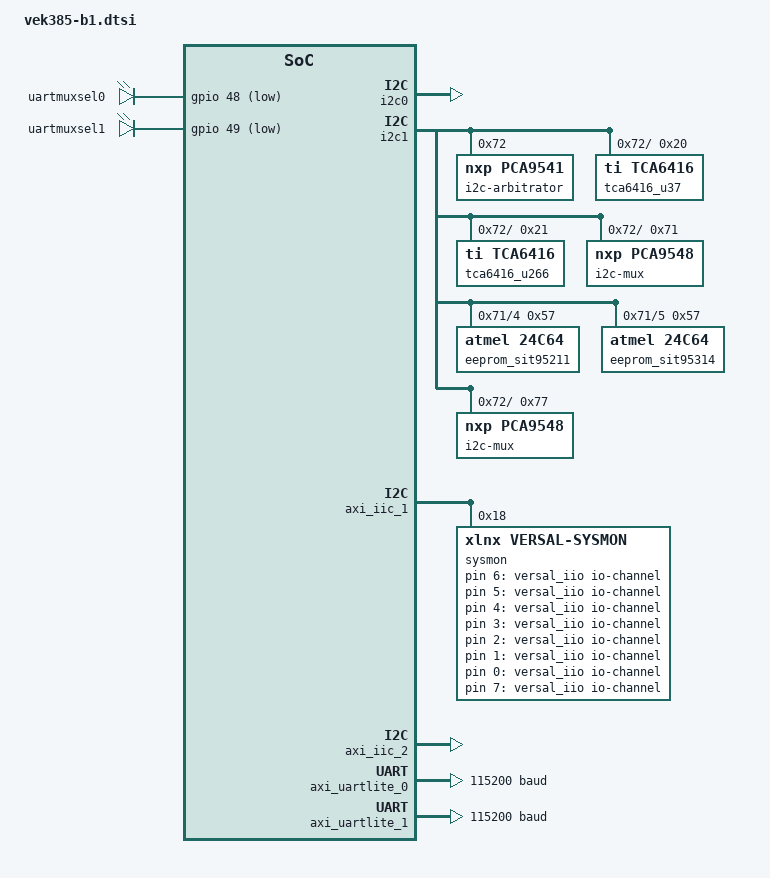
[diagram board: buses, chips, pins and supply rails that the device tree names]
// SPDX-License-Identifier: GPL-2.0
/*
 * dts file for Kria(K24) SC on VEK385 revB
 *
 * (C) Copyright 2024 - 2025, Advanced Micro Devices, Inc.
 *
 */

/dts-v1/;
/plugin/;

&{/} {
	compatible = "xlnx,zynqmp-sc-vek385-revB",
		     "xlnx,zynqmp-sc-vek385", "xlnx,zynqmp";
	model = "ZynqMP SC VEK385 revB";

	versal_iio: versal {
		compatible = "iio-hwmon";
		io-channels = <&sysmon 6>, <&sysmon 5>, <&sysmon 4>,
			      <&sysmon 3>, <&sysmon 2>, <&sysmon 1>,
			      <&sysmon 0>, <&sysmon 7>, <&sysmon 8>;
	};

	aliases {
		/* This is kind of HACK but works properly based on design */
		nvmem1 = "/axi/i2c@ff030000/i2c-arbitrator@72/i2c-arb/eeprom@54";
	};

	leds-um {
		compatible = "gpio-leds";
		um0-led {
			label = "uartmuxsel0";
			gpios = <&gpio 48 1>;
			default-state = "off";
		};

		um1-led {
			label = "uartmuxsel1";
			gpios = <&gpio 49 1>;
			default-state = "off";
		};
	};


};

&i2c0 { /* I2C_SCK C23/C24 - MIO 66/67 */
	status = "okay";
	/* board_i2c0 */
};

&i2c1 { /* I2C_SCK C23/C24 - MIO from SOM */
	#address-cells = <1>;
	#size-cells = <0>;

	i2c-arbitrator@72 { /* u161 */
		compatible = "nxp,pca9541";
		reg = <0x72>;

		i2c-arb {
			#address-cells = <1>;
			#size-cells = <0>;

			tca6416_u37: gpio@20 { /* u37 */
				compatible = "ti,tca6416";
				reg = <0x20>;
				gpio-controller; /* interrupt on MIO69 */
				#gpio-cells = <2>;
				gpio-line-names = "VMON1_SLP", "VMON2_SLP", "VMON3_SLP", "", /* 0 - 3 */
						"PCIE_RP_i2C_ALERT_B", "PCIE_RP_CLKREQ_B", "PCIE_RP_PEWAKE_B", "PCIE_RP_PERST_CON_B", /* 4 - 7 */
						"FMCP1_FMC_PRSNT_M2C_B", "FMCP1_FMCP_PRSNT_M2C_B", "PMBUS4_INA_ALERT", "PMBUS3_INA_ALERT", /* 10 - 13 */
						"PMBUS2_INA_ALERT", "PMBUS1_INA_ALERT", "PMBUS1_NIRQ", "PMBUS1_ALERT"; /* 14 - 17 */
			};

			tca6416_u266: gpio@21 { /* u266 */
				compatible = "ti,tca6416";
				reg = <0x21>;
				gpio-controller; /* interrupt on MIO69 */
				#gpio-cells = <2>;
				gpio-line-names = "QSFP1_MODSELL", "QSFP1_RESETL", "QSFP1_MODPRSL", "QSFP1_INTL", /* 0 - 3 */
						"QSFP1_LPMODE", "", "", "", /* 4 - 7 */
						"SFP_TX_FAULT", "SFP_RX_LOS", "SFP_MOD_ABS", "SFP_TX_DISABLE", /* 10 - 13 */
						"SFP_RS0_R", "SFP_RS1_R", "", ""; /* 14 - 17 */
			};

			i2c-mux@71 { /* u162 */
				compatible = "nxp,pca9548";
				#address-cells = <1>;
				#size-cells = <0>;
				reg = <0x71>;
				i2c-mux-idle-disconnect;
				i2c@0 {
					#address-cells = <1>;
					#size-cells = <0>;
					reg = <0>;
					/* pmbus1 */
					/* J1 connector */
					/* u256 mpq79730 0x8 */
					/* u254 mpq79730 0x9 */
					/* u255 mpq79730 0xa */
					/* u243 mpq79720 0xb */
					/* u245 mpq79720 0xc */
					/* u92 mpq2283 0x12 */
					/* u201 mpq2283 0x15 */
					/* u193 mpq2283 0x1a */
					/* u207 mpq2283 0x1c */
					/* u176 mpq2285 0x1d */
					/* u228 mpq72963 0x22 */
					/* u219 mpq72963 0x23 */
					/* u220 mpq72963 0x24 */
					/* u247 mpq79500 FIXME */
					/* u248 mpq79500 FIXME */
					/* u249 mpq79500 FIXME */
				};
				i2c@1 {
					#address-cells = <1>;
					#size-cells = <0>;
					reg = <1>;
					/* pmbus2 */
					/* J166 connector */
					/* u205 mpq2285 0x1 */
					/* u175 mpq2285 0x2 */
					/* u189 mpq2283 0x3 */
					/* u190 mpq2283 0x4 */
					/* u195 mpq2283 0x1e */
					/* u196 mpq2283 0x1f */
					/* u93 mpq2283 0x13 */
					/* u94 mpq2283 0x14 */
					/* u202 mpq2283 0x16 */
					/* u203 mpq2283 0x17 */
					/* u204 mpq2283 0x18 */
					/* u191 mpq2283 0x19 */
					/* u206 mpq2283 0x1b */
				};
				i2c@2 {
					#address-cells = <1>;
					#size-cells = <0>;
					reg = <2>;
					/* pmbus1_ina */
					/* u282 ina745a 0x40 vcc_fpd_bus */
					/* u233 ina745a 0x41 vcc_soc_io_bus */
					/* u283 ina700a 0x44 vcc_lpd */
					/* u284 ina700a 0x45 vccaux_lpd */
					/* u285 ina700a 0x46 vcco_50x */
					/* u286 ina700a 0x47 vcco_mipi_507 */
					/* u64 ina745a 0x48 vccint_bus1 */
					/* u275 ina745a 0x49 vccint_bus2 */
					/* u276 ina745a 0x4a vccint_bus3 */
					/* u277 ina745a 0x4b vccint_bus4 */
				};
				i2c@3 {
					#address-cells = <1>;
					#size-cells = <0>;
					reg = <3>;
					/* pmbus2_ina */
					/* u287 ina700a 0x44 vcciio_mipi_507 */
					/* u297 ina700a 0x45 util_5v0_in_bank504 */
					/* u288 ina700a 0x46 vccaux */
					/* u289 ina700a 0x48 vadj_fmc */
					/* u278 ina745a 0x48 vcc_aie_bus1 */
					/* u279 ina745a 0x49 vcc_aie_bus2 */
					/* u280 ina745a 0x4a vcc_aie_bus3 */
					/* u281 ina745a 0x4b vcc_aie_bus4 */
				};
				i2c@4 {
					#address-cells = <1>;
					#size-cells = <0>;
					reg = <4>;
					/* clkgen_sit95211 */
					/* u101 sit95211 0x69 - 12 outputs */
					eeprom_u166: eeprom@57 { /* u166 - required by spec - also at address 0x5F */
						compatible = "atmel,24c64";
						label = "eeprom_sit95211";
						reg = <0x57>;
					};
				};
				i2c@5 {
					#address-cells = <1>;
					#size-cells = <0>;
					reg = <5>;
					/* clkgen_sit95314 */
					/* u164 sit95314 0x69 - 4 outputs */
					eeprom_u165: eeprom@57 { /* u165 - required by spec - also at address 0x5F */
						compatible = "atmel,24c64";
						label = "eeprom_sit95314";
						reg = <0x57>;
					};
				};
				i2c@6 {
					#address-cells = <1>;
					#size-cells = <0>;
					reg = <6>;
					/* pmbus3_ina */
					/* u290 ina700a 0x44 vcco_40x */
					/* u291 ina700a 0x45 gtyp_avccaux */
					/* u292 ina700a 0x46 gtyp_avtt */
					/* u294 ina700a 0x47 vcco_7xx_lp5 */
				};
				i2c@7 {
					#address-cells = <1>;
					#size-cells = <0>;
					reg = <7>;
					/* pmbus4_ina */
					/* u293 ina700a 0x44 vcc_mmd */
					/* u295 ina700a 0x45 vcc_ram */
					/* u296 ina700a 0x46 gtyp_avcc */
				};
			};
			i2c-mux@77 { /* u253 */
				compatible = "nxp,pca9548";
				#address-cells = <1>;
				#size-cells = <0>;
				reg = <0x77>;
				i2c-mux-idle-disconnect;
				i2c@0 {
					#address-cells = <1>;
					#size-cells = <0>;
					reg = <0>;
					/* qsfp1 */
				};
				i2c@1 {
					#address-cells = <1>;
					#size-cells = <0>;
					reg = <1>;
					/* sfp */
				};
				i2c@2 {
					#address-cells = <1>;
					#size-cells = <0>;
					reg = <2>;
					/* usbdp */
					/* u272 tps66993 FIXME */
				};
				i2c@3 {
					#address-cells = <1>;
					#size-cells = <0>;
					reg = <3>;
					/* pcie_rp */
				};
				i2c@4 {
					#address-cells = <1>;
					#size-cells = <0>;
					reg = <4>;
					/* usb0_hub */
					hub: usb-hub@2d {
						compatible = "microchip,usb5744";
						status = "disabled";
						reg = <0x2d>;
					};

				};
				/* 5 - 7 not connected */
			};
		};
	};
};

&fpga_full {
        firmware-name = "vek385-b1.bin";
        resets = <&zynqmp_reset 116>;
        clocking0: clocking0 {
                #clock-cells = <0>;
                clock-frequency = <99999999>;
                assigned-clocks = <&zynqmp_clk 71>;
                clock-output-names = "fabric_clk";
                clocks = <&zynqmp_clk 71>;
                compatible = "xlnx,fclk";
        };
        afi0: afi0 {
                compatible = "xlnx,afi-fpga";
                config-afi = < 0 0>, <1 0>, <2 0>, <3 0>, <4 0>, <5 0>, <6 0>, <7 0>, <8 0>, <9 0>, <10 0>, <11 0>, <12 0>, <13 0>, <14 0xa00>, <15 0x000>;
                resets = <&zynqmp_reset 116>, <&zynqmp_reset 117>, <&zynqmp_reset 118>, <&zynqmp_reset 119>;
        };
};

&amba {
        #address-cells = <2>;
        #size-cells = <2>;
        axi_gpio_0: gpio@80020000 {
                #gpio-cells = <2>;
                #interrupt-cells = <2>;
                clock-names = "s_axi_aclk";
                clocks = <&zynqmp_clk 71>;
                compatible = "xlnx,axi-gpio-2.0", "xlnx,xps-gpio-1.00.a";
                gpio-controller ;
                interrupt-controller ;
                interrupt-names = "ip2intc_irpt";
                interrupt-parent = <&gic>;
                interrupts = <0 94 4>;
                reg = <0x0 0x80020000 0x0 0x10000>;
                xlnx,all-inputs = <0x0>;
                xlnx,all-inputs-2 = <0x0>;
                xlnx,all-outputs = <0x0>;
                xlnx,all-outputs-2 = <0x0>;
                xlnx,dout-default = <0x00000000>;
                xlnx,dout-default-2 = <0x00000000>;
                xlnx,gpio-width = <0x10>;
                xlnx,gpio2-width = <0x20>;
                xlnx,interrupt-present = <0x1>;
                xlnx,is-dual = <0x0>;
                xlnx,tri-default = <0xFFFFFFFF>;
                xlnx,tri-default-2 = <0xFFFFFFFF>;
                gpio-line-names =
                    /*  0 -  3 */ "DPL_EN", "DSYSTEM_EN", "DPFD_EN", "",
                    /*  4 -  7 */ "", "", "", "",
                    /*  8 - 11 */ "", "", "DAIE_EN", "DLPD_EN",
                    /* 12 - 15 */ "", "", "", "";

        };
        axi_gpio_1: gpio@80030000 {
                #gpio-cells = <2>;
                #interrupt-cells = <2>;
                clock-names = "s_axi_aclk";
                clocks = <&zynqmp_clk 71>;
                compatible = "xlnx,axi-gpio-2.0", "xlnx,xps-gpio-1.00.a";
                gpio-controller ;
                interrupt-controller ;
                interrupt-names = "ip2intc_irpt";
                interrupt-parent = <&gic>;
                interrupts = <0 96 4>;
                reg = <0x0 0x80030000 0x0 0x10000>;
                xlnx,all-inputs = <0x0>;
                xlnx,all-inputs-2 = <0x0>;
                xlnx,all-outputs = <0x0>;
                xlnx,all-outputs-2 = <0x0>;
                xlnx,dout-default = <0x00000000>;
                xlnx,dout-default-2 = <0x00000000>;
                xlnx,gpio-width = <0x1a>;
                xlnx,gpio2-width = <0x20>;
                xlnx,interrupt-present = <0x1>;
                xlnx,is-dual = <0x0>;
                xlnx,tri-default = <0xFFFFFFFF>;
                xlnx,tri-default-2 = <0xFFFFFFFF>;
                gpio-line-names =
                    /*  0 -  3 */ "", "", "SYSCTRL_GPI6", "SYSCTRL_GPI7",
                    /*  4 -  7 */ "", "", "", "",
                    /*  8 - 11 */ "SYSCTRL_GPI4", "SYSCTRL_GPI5", "CC_EEPROM_WP", "SYSCTRL_GPO0",
                    /* 12 - 15 */ "SYSCTRL_GPO1", "", "", "",
                    /* 16 - 19 */ "SYSCTRL_GPO2", "SYSCTRL_GPO3", "", "",
                    /* 20 - 23 */ "", "", "", "",
                    /* 24 - 25 */ "", "";
        };

        axi_gpio_2: gpio@80040000 {
                #gpio-cells = <2>;
                #interrupt-cells = <2>;
                clock-names = "s_axi_aclk";
                clocks = <&zynqmp_clk 71>;
                compatible = "xlnx,axi-gpio-2.0", "xlnx,xps-gpio-1.00.a";
                gpio-controller ;
                interrupt-controller ;
                interrupt-names = "ip2intc_irpt";
                interrupt-parent = <&gic>;
                interrupts = <0 95 4>;
                reg = <0x0 0x80040000 0x0 0x10000>;
                xlnx,all-inputs = <0x0>;
                xlnx,all-inputs-2 = <0x0>;
                xlnx,all-outputs = <0x0>;
                xlnx,all-outputs-2 = <0x0>;
                xlnx,dout-default = <0x00000000>;
                xlnx,dout-default-2 = <0x00000000>;
                xlnx,gpio-width = <0x18>;
                xlnx,gpio2-width = <0x20>;
                xlnx,interrupt-present = <0x1>;
                xlnx,is-dual = <0x0>;
                xlnx,tri-default = <0xFFFFFFFF>;
                xlnx,tri-default-2 = <0xFFFFFFFF>;
        };
        axi_iic_1: i2c@80060000 {
                #address-cells = <1>;
                #size-cells = <0>;
                clock-names = "s_axi_aclk";
                clocks = <&zynqmp_clk 71>;
                compatible = "xlnx,axi-iic-2.1", "xlnx,xps-iic-2.00.a";
                interrupt-names = "iic2intc_irpt";
                interrupt-parent = <&gic>;
                interrupts = <0 92 4>;
                reg = <0x0 0x80060000 0x0 0x10000>;
		sysmon: i2c@18 {
			#address-cells = <1>;
			#size-cells = <0>;
			compatible = "xlnx,versal-sysmon";
			reg = <0x18>;
			xlnx,numchannels = [07];
			status = "okay";
			#io-channel-cells = <1>;
			supply@0 {
				reg = <0>;
				xlnx,name = "vccaux";
			};
			supply@1 {
				reg = <1>;
				xlnx,name = "vccaux_pmc";
			};
			supply@2 {
				reg = <2>;
				xlnx,name = "vcc_pmc";
			};
			supply@3 {
				reg = <3>;
				xlnx,name = "vcc_psfp";
			};
			supply@4 {
				reg = <4>;
				xlnx,name = "vcc_pslp";
			};
			supply@5 {
				reg = <5>;
				xlnx,name = "vcc_soc";
			};
			supply@6 {
				reg = <6>;
				xlnx,name = "vp_vn";
			};
		};
        };
        axi_iic_2: i2c@80090000 {
                interrupts = < 0 105 4 >;
                xlnx,iic-freq-khz = <100>;
                compatible = "xlnx,axi-iic-2.1" , "xlnx,xps-iic-2.00.a";
                xlnx,scl-inertial-delay = <0>;
                interrupt-parent = <&gic>;
                xlnx,ip-name = "axi_iic";
                xlnx,disable-setup-violation-check = <0>;
                reg = <0x0 0x80090000 0x0 0x10000>;
                clocks = <&zynqmp_clk 71>;
                xlnx,gpo-width = <1>;
                xlnx,edk-iptype = "PERIPHERAL";
                xlnx,static-timing-reg-width = <0>;
                xlnx,sda-level = <1>;
                status = "okay";
                clock-names = "s_axi_aclk";
                xlnx,ten-bit-adr = <0>;
                xlnx,default-value = <0x0>;
                interrupt-names = "iic2intc_irpt";
                xlnx,iic-board-interface = "Custom";
                xlnx,timing-reg-width = <32>;
                xlnx,iic-freq = <100000>;
                xlnx,smbus-pmbus-host = <0>;
                xlnx,name = "axi_iic_2";
                xlnx,axi-aclk-freq-mhz = <0x5f5dd19>;
                xlnx,sda-inertial-delay = <0>;
        };
        axi_uartlite_0: serial@80070000 {
                clock-names = "s_axi_aclk";
                clocks = <&zynqmp_clk 71>;
                compatible = "xlnx,axi-uartlite-2.0", "xlnx,xps-uartlite-1.00.a";
                current-speed = <115200>;
                device_type = "serial";
                interrupt-names = "interrupt";
                interrupt-parent = <&gic>;
                interrupts = <0 104 1>;
                port-number = <1>;
                reg = <0x0 0x80070000 0x0 0x10000>;
                xlnx,baudrate = <0x1c200>;
                xlnx,data-bits = <0x8>;
                xlnx,odd-parity = <0x0>;
                xlnx,s-axi-aclk-freq-hz-d = "99.999001";
                xlnx,use-parity = <0x0>;
        };
	axi_uartlite_1: serial@80050000 {
                clock-names = "s_axi_aclk";
                clocks = <&zynqmp_clk 71>;
                compatible = "xlnx,axi-uartlite-2.0", "xlnx,xps-uartlite-1.00.a";
                current-speed = <115200>;
                device_type = "serial";
                interrupt-names = "interrupt";
                interrupt-parent = <&gic>;
                interrupts = <0 91 1>;
                port-number = <2>;
                reg = <0x0 0x80050000 0x0 0x10000>;
                xlnx,baudrate = <0x1c200>;
                xlnx,data-bits = <0x8>;
                xlnx,odd-parity = <0x0>;
                xlnx,s-axi-aclk-freq-hz-d = "99.999001";
                xlnx,use-parity = <0x0>;
        };
	debug_bridge_0: debug_bridge@80010000 {
                clock-names = "s_axi_aclk";
                clocks = <&zynqmp_clk 71>;
                compatible = "xlnx,debug-bridge-3.0", "generic-uio";
                reg = <0x0 0x80010000 0x0 0x10000>;
                xlnx,bscan-mux = <0x1>;
                xlnx,build-revision = <0x0>;
                xlnx,chip-id = <0x0>;
                xlnx,clk-input-freq-hz = <0x11e1a300>;
                xlnx,core-major-ver = <0x1>;
                xlnx,core-minor-alpha-ver = <0x61>;
                xlnx,core-minor-ver = <0x0>;
                xlnx,core-type = <0x1>;
                xlnx,dclk-has-reset = <0x0>;
                xlnx,debug-mode = <0x3>;
                xlnx,design-type = <0x0>;
                xlnx,device-family = <0x0>;
                xlnx,en-bscanid-vec = "false";
                xlnx,en-int-sim = <0x1>;
                xlnx,en-passthrough = <0x0>;
                xlnx,enable-clk-divider = "false";
                xlnx,fifo-style = "SUBCORE";
                xlnx,ir-id-instr = <0x0>;
                xlnx,ir-user1-instr = <0x0>;
                xlnx,ir-width = <0x0>;
                xlnx,major-version = <0xe>;
                xlnx,master-intf-type = <0x1>;
                xlnx,minor-version = <0x1>;
                xlnx,num-bs-master = <0x0>;
                xlnx,pcie-ext-cfg-base-addr = <0x400>;
                xlnx,pcie-ext-cfg-next-ptr = <0x000>;
                xlnx,pcie-ext-cfg-vsec-id = <0x0008>;
                xlnx,pcie-ext-cfg-vsec-length = <0x020>;
                xlnx,pcie-ext-cfg-vsec-rev-id = <0x0>;
                xlnx,tck-clock-ratio = <0x8>;
                xlnx,two-prim-mode = "false";
                xlnx,use-bufr = <0x0>;
                xlnx,use-ext-bscan = "true";
                xlnx,use-softbscan = <0x1>;
                xlnx,use-startup-clk = "false";
                xlnx,user-scan-chain = <0x1>;
                xlnx,xsdb-num-slaves = <0x0>;
                xlnx,xvc-hw-id = <0x0001>;
                xlnx,xvc-sw-id = <0x0001>;
        };
        fan_tach_0: fan_tach@80080000 {
                clock-names = "clk";
                clocks = <&zynqmp_clk 71>;
                compatible = "xlnx,fan-tach-1.0";
                interrupt-names = "interrupt_fan_fail", "interrupt_pwm_det";
                interrupt-parent = <&gic>;
                interrupts = <0 89 4 0 90 4>;
                reg = <0x0 0x80080000 0x0 0x1000 0x0 0x80081000 0x0 0x1000 0x0 0x80082000 0x0 0x1000>;
        };
};
